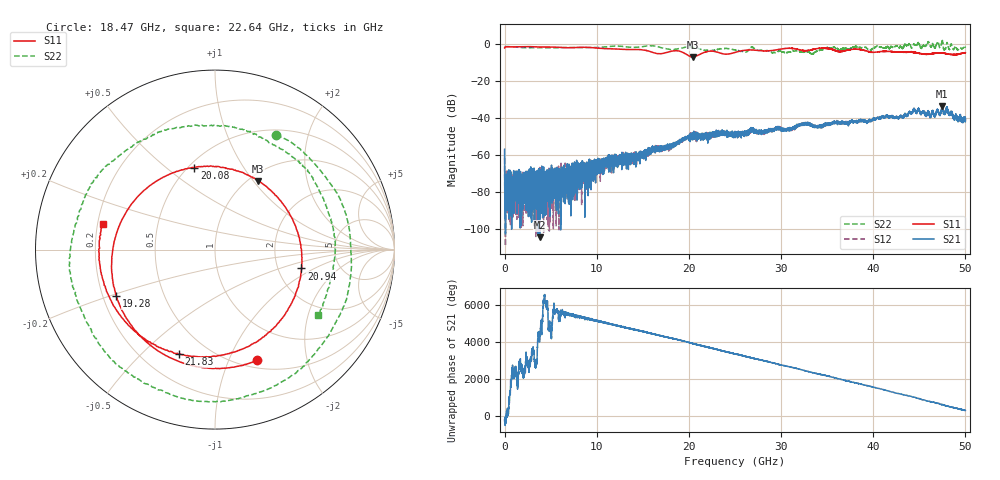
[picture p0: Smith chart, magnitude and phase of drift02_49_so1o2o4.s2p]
!Created with skrf (http://scikit-rf.org).
# Hz S RI R 50.0
!freq ReS11 ImS11 ReS21 ImS21 ReS12 ImS12 ReS22 ImS22
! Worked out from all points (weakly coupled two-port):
!   10001 points, 300 kHz to 50 GHz, reference 50 ohm
!   highest |S21| = -33.54 dB at 47.5 GHz (marker M1); lowest = -104.4 dB at 3.8 GHz (marker M2)
!   lowest |S11| = -6.9 dB at 20.41 GHz (marker M3), VSWR 2.64, Z = 55.1 + j52.8 ohm
!   |S11| at or under -10 dB: nowhere
!   |S22| runs from -5.4 to 2.0 dB; largest |S21 - S12| = 0.0031
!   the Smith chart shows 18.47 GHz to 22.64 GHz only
!   S11 on the Smith chart (normalised r, x): 18.47 GHz: 0.58, -1.28; 19.28 GHz: 0.26, -0.21; 20.08 GHz: 0.53, +0.63; 20.94 GHz: 2.71, -0.75; 21.83 GHz: 0.35, -0.66; 22.64 GHz: 0.22, +0.11
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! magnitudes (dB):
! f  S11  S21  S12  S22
! 300 kHz  -2.1  -56.9  -61.5  -1.3
! 265.3 MHz  -1.4  -80.2  -68.0  -1.4
! 3.8 GHz  -1.5  -104.4  -70.7  -1.9
! 5.83 GHz  -1.7  -82.7  -73.3  -2.0
! 6.51 GHz  -1.9  -69.3  -72.8  -1.9
! 8.335 GHz  -1.7  -77.8  -65.6  -1.9
! 16.67 GHz  -5.2  -56.9  -56.2  -1.4
! 18.47 GHz  -3.6  -54.4  -53.9  -2.8
! 19.28 GHz  -4.3  -51.7  -51.3  -2.1
! 20.08 GHz  -6.5  -51.2  -50.0  -1.5
! 20.41 GHz  -6.9  -49.5  -49.6  -1.8
! 20.94 GHz  -6.1  -49.3  -50.9  -2.2
! 21.83 GHz  -4.2  -49.1  -48.6  -3.4
! 22.64 GHz  -3.9  -48.4  -49.1  -3.3
! 25 GHz  -4.5  -47.1  -48.1  -3.2
! 26.12 GHz  -3.3  -48.0  -48.6  -4.3
! 26.91 GHz  -3.2  -46.4  -45.8  -1.6
! 33.34 GHz  -3.0  -43.2  -43.9  -5.1
! 34.89 GHz  -2.2  -43.0  -43.2  -2.2
! 41.67 GHz  -3.9  -39.1  -39.2  -2.1
! 47.5 GHz  -4.8  -33.5  -34.1  1.6
! 50 GHz  -4.7  -40.2  -40.6  -1.5
